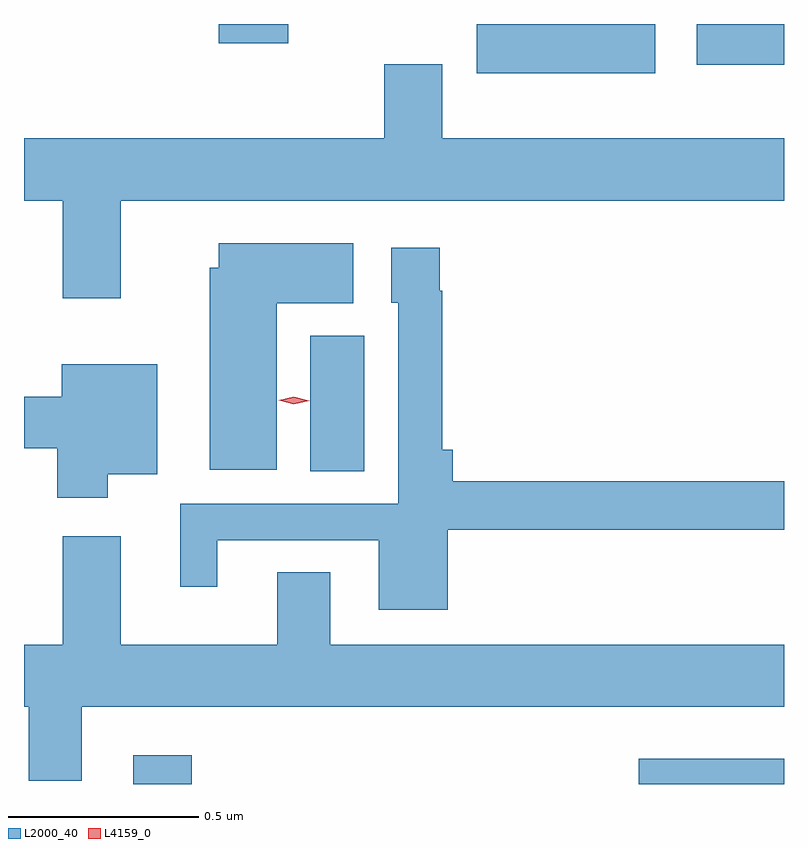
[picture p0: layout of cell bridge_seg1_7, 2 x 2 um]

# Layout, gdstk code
import gdstk
lib = gdstk.Library(unit=1e-6, precision=1e-09)
def R(c, l, rs):  # rectangles x0, y0, x1, y1
    for r in rs: c.add(gdstk.rectangle(r[:2], r[2:], *l))
def P(c, l, *ps):  # polygons
    for p in ps: c.add(gdstk.Polygon(p, *l))
L2000_40 = (2000, 40)
L4159_0 = (4159, 0)

bridge_seg1_7 = lib.new_cell('bridge_seg1_7')
R(bridge_seg1_7, L2000_40, [(635.969,522.225,636.122,522.301), (637.299,522.225,637.681,522.292), (636.434,523.048,636.577,523.405), (636.872,524.096,637.342,524.225), (637.451,524.118,637.681,524.225), (636.194,524.175,636.377,524.225)])
P(bridge_seg1_7, L2000_40, [(635.935,523.76),(637.681,523.76),(637.681,523.924),(636.781,523.924),(636.781,524.119),(636.629,524.119),(636.629,523.924),(635.681,523.924),(635.681,523.76),(635.783,523.76),(635.783,523.503),(635.935,523.503)],
  [(636.346,523.49),(636.547,523.49),(636.547,523.648),(636.194,523.648),(636.194,523.584),(636.17,523.584),(636.17,523.052),(636.346,523.052)],
  [(636.796,522.894),(637.681,522.894),(637.681,523.022),(636.809,523.022),(636.809,523.105),(636.782,523.105),(636.782,523.523),(636.775,523.523),(636.775,523.636),(636.647,523.636),(636.647,523.491),(636.666,523.491),(636.666,522.963),(636.092,522.963),(636.092,522.744),(636.19,522.744),(636.19,522.867),(636.614,522.867),(636.614,522.683),(636.796,522.683)],
  [(635.902,523.04),(636.031,523.04),(636.031,523.33),(635.78,523.33),(635.78,523.244),(635.681,523.244),(635.681,523.108),(635.768,523.108),(635.768,522.978),(635.902,522.978)],
  [(635.833,522.428),(637.681,522.428),(637.681,522.592),(636.487,522.592),(636.487,522.782),(636.347,522.782),(636.347,522.592),(635.935,522.592),(635.935,522.877),(635.783,522.877),(635.783,522.592),(635.681,522.592),(635.681,522.428),(635.693,522.428),(635.693,522.234),(635.833,522.234)])
P(bridge_seg1_7, L4159_0, [(636.391,523.224),(636.351,523.235),(636.351,523.235),(636.351,523.235),(636.391,523.244),(636.431,523.234),(636.431,523.234),(636.431,523.234)])

lib.write_gds('bridge_seg1_7.gds')
